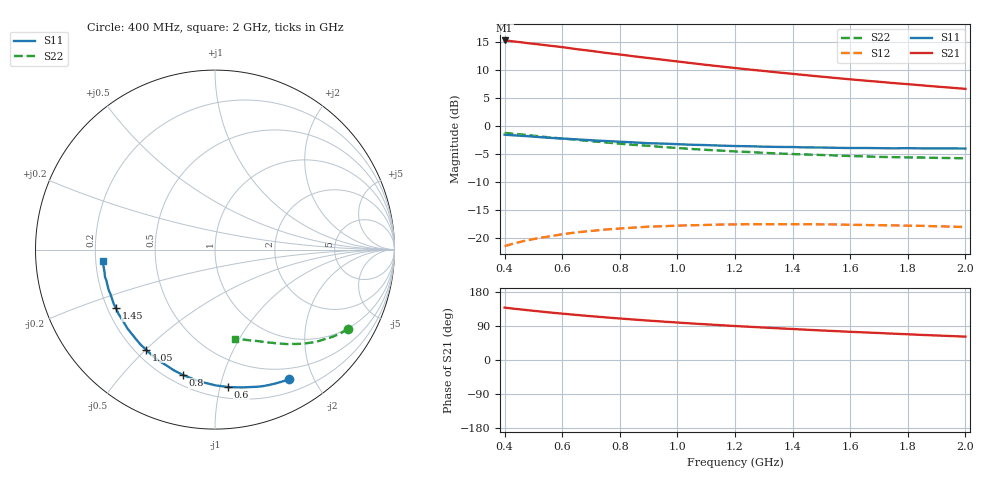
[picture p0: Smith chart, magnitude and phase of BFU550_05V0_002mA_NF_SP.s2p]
! Filename:  P:\Prog\Test\Noise\ATS_data\Testdata_Net\06 Compressed Noise after Statistics\BFU550_APG2013_43_D05_05p0V_002mA_NF_CM01_D.sf
! Date/Time: Fri 26/Apr/2013 13:07:21
! BFU550_APG2013_43_D05_05p0V_1to35mA_NF_CM01_Bias2_R.sf
! Noise Parameter Data File
! BFU550_APG2013_43_D05_05p0V_1to35mA_NF_CM01
! Date/time: Thu Apr 25 16:23:08 2013
! VAR V_out= 5.001000
! VAR I_out= 1.995000
! VAR V_in= 0.793800
! VAR I_in= 0.021300
! Device data file deembeded for feedlines and parallel
! Original file: \06 Compressed Noise after Statistics\BFU550_APG2013_43_D05_05p0V_002mA_NF_CM01_R.sf
! Feed-files: PR047V01_250413_Feed1.s2p, PR047V01_250413_Feed2.s2p
! Parallel-file: PR047V01_250413_Par.s2p
# MHz S MA R 50
!  Freq-MHz  S11-mag  S11-arg  S21-mag  S21-arg  S12-mag  S12-arg  S22-mag  S22-arg
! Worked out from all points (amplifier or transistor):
!   37 points, 400 MHz to 2 GHz, reference 50 ohm
!   highest |S21| = 15.2 dB at 400 MHz (marker M1)
!   |S21| within 3 dB of that: start of sweep to 876.9 MHz
!   unconditionally stable (mu >= 1): nowhere
!   at 500 MHz: K = 0.17, MSG = 17.4 dB, |S12| = -20.2 dB
!   at 1.1 GHz: K = 0.37, MSG = 14.3 dB, |S12| = -17.7 dB
!   at 2 GHz: K = 0.71, MSG = 12.3 dB, |S12| = -18.1 dB
!   lowest NFmin = 0.50 dB at 420 MHz
!   S11 on the Smith chart (normalised r, x): 400 MHz: 0.36, -1.67; 600 MHz: 0.28, -1.06; 800 MHz: 0.26, -0.74; 1.05 GHz: 0.24, -0.50; 1.45 GHz: 0.23, -0.26; 2 GHz: 0.23, -0.05
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400  0.8324 -60.1  5.777 138.2  0.08421 55.4  0.8637 -30.8
440  0.8193 -65.4  5.63 134.7  0.08998 52.7  0.845 -33.1
480  0.8071 -70.3  5.464 131.5  0.09509 50.1  0.8254 -35.4
500  0.7998 -72.8  5.399 129.9  0.09746 48.9  0.8159 -36.5
550  0.7823 -79.0  5.212 125.9  0.1025 45.9  0.7907 -39.1
600  0.7695 -84.5  5.039 122.3  0.1075 43.2  0.7696 -41.5
650  0.7565 -89.8  4.832 118.9  0.1119 40.7  0.7496 -43.6
700  0.7429 -94.9  4.662 115.6  0.1151 38.3  0.7287 -45.7
750  0.7313 -99.7  4.48 112.5  0.1186 36.2  0.7109 -47.6
800  0.7208 -104.4  4.328 109.5  0.1211 34.1  0.6918 -49.5
850  0.7105 -108.8  4.167 106.7  0.1234 32.2  0.6756 -51.0
900  0.699 -113.1  4.024 104.0  0.1258 30.4  0.6622 -52.7
950  0.6933 -117.1  3.886 101.4  0.1269 28.8  0.6456 -54.3
1050  0.6769 -124.7  3.622 96.4  0.1293 25.7  0.6206 -57.2
1200  0.6595 -134.9  3.281 89.7  0.1316 21.9  0.5901 -61.0
1300  0.6509 -140.9  3.086 85.6  0.1322 19.8  0.5735 -63.3
1450  0.6408 -149.4  2.824 79.8  0.1321 17.0  0.5539 -66.6
1500  0.6399 -152.0  2.744 78.0  0.1319 16.2  0.5486 -67.7
1600  0.6329 -157.2  2.598 74.4  0.1307 14.8  0.5372 -69.9
1750  0.6292 -164.1  2.407 69.5  0.129 13.1  0.525 -72.8
1850  0.6282 -168.4  2.294 66.2  0.1278 12.2  0.5206 -74.7
2000  0.6264 -174.4  2.135 61.7  0.1247 11.4  0.5121 -77.7
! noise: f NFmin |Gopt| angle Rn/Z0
400  0.5472  0.4662  33.73  0.1849
460  0.5448  0.4569  38.1  0.1769
600  0.5728  0.4632  47.82  0.1707
800  0.6754  0.4494  64.71  0.1594
1000  0.6994  0.4818  78.76  0.1507
1200  0.7699  0.4923  91.96  0.1377
1400  0.7935  0.5107  107.4  0.1096
1600  0.8113  0.4854  123.2  0.0902
1800  0.6314  0.5322  136.6  0.06
2000  1.023  0.5124  148.6  0.068
